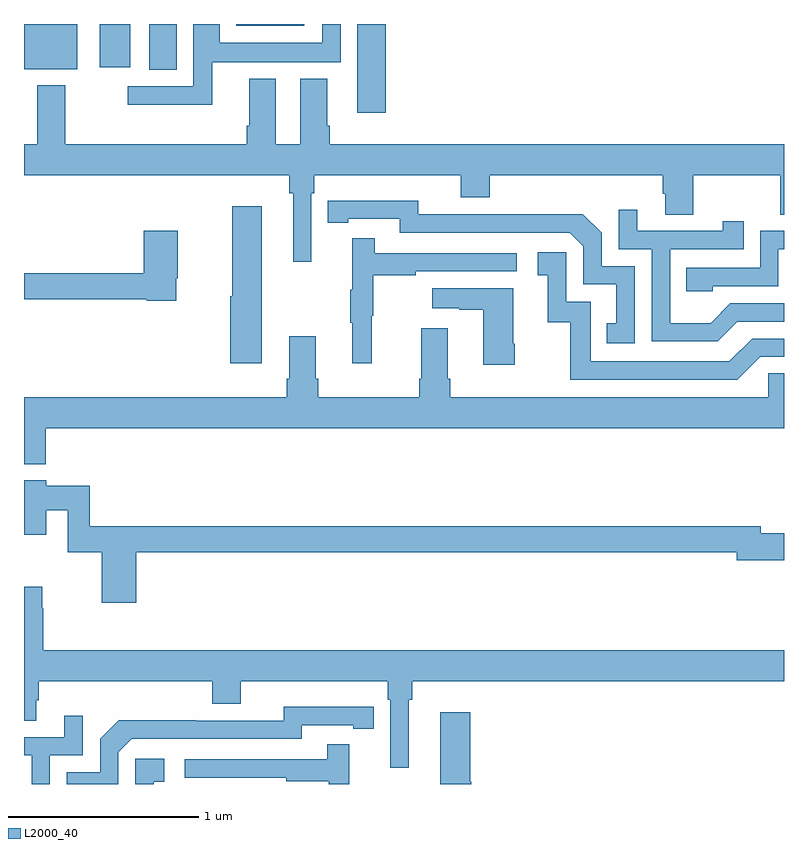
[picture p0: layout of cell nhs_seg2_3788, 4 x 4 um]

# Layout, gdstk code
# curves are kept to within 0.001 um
import gdstk
lib = gdstk.Library(unit=1e-6, precision=1e-09)
def R(c, l, rs):  # rectangles x0, y0, x1, y1
    for r in rs: c.add(gdstk.rectangle(r[:2], r[2:], *l))
def P(c, l, *ps):  # polygons
    for p in ps: c.add(gdstk.Polygon(p, *l))
L2000_40 = (2000, 40)

nhs_seg2_3788 = lib.new_cell('nhs_seg2_3788')
R(nhs_seg2_3788, L2000_40, [(312.755,613.332,312.905,613.8), (311.66,613.558,311.803,613.8), (311,613.562,311.281,613.8), (311.399,613.572,311.56,613.8), (312.116,613.79,312.475,613.8)])
P(nhs_seg2_3788, L2000_40, [(311.99,613.598),(312.666,613.598),(312.666,613.8),(312.57,613.8),(312.57,613.702),(312.031,613.702),(312.031,613.8),(311.891,613.8),(311.891,613.473),(311.547,613.473),(311.547,613.376),(311.99,613.376)],
  [(312.513,612.908),(312.527,612.908),(312.527,613.004),(313.298,613.004),(313.298,612.887),(313.451,612.887),(313.451,613.004),(314.363,613.004),(314.363,612.906),(314.375,612.906),(314.375,612.796),(314.523,612.796),(314.523,613.004),(314.98,613.004),(314.98,612.796),(315,612.796),(315,613.168),(312.608,613.168),(312.608,613.264),(312.595,613.264),(312.595,613.513),(312.455,613.513),(312.455,613.168),(312.325,613.168),(312.325,613.513),(312.185,613.513),(312.185,613.264),(312.173,613.264),(312.173,613.168),(311.217,613.168),(311.217,613.477),(311.069,613.477),(311.069,613.168),(311,613.168),(311,613.004),(312.397,613.004),(312.397,612.908),(312.416,612.908),(312.416,612.549),(312.513,612.549)],
  [(314.214,612.525),(314.04,612.525),(314.04,612.702),(313.942,612.8),(313.534,612.8),(313.534,612.798),(313.074,612.798),(313.074,612.871),(312.598,612.87),(312.598,612.754),(312.706,612.754),(312.706,612.774),(312.978,612.774),(312.978,612.702),(313.872,612.702),(313.944,612.63),(313.944,612.429),(314.117,612.429),(314.117,612.225),(314.068,612.225),(314.068,612.12),(314.214,612.12)],
  [(312.25,612.841),(312.097,612.841),(312.097,612.366),(312.086,612.366),(312.086,612.014),(312.25,612.014)],
  [(314.755,612.234),(315,612.234),(315,612.33),(314.718,612.33),(314.614,612.226),(314.4,612.226),(314.4,612.615),(314.789,612.615),(314.789,612.763),(314.678,612.763),(314.678,612.711),(314.227,612.711),(314.227,612.823),(314.13,612.823),(314.13,612.615),(314.304,612.615),(314.304,612.129),(314.65,612.129)],
  [(311.8,612.463),(311.808,612.463),(311.808,612.712),(311.63,612.712),(311.63,612.488),(311,612.488),(311,612.352),(311.646,612.352),(311.646,612.344),(311.8,612.344)],
  [(314.625,612.42),(314.97,612.42),(314.97,612.615),(315,612.615),(315,612.711),(314.874,612.711),(314.874,612.516),(314.485,612.516),(314.485,612.393),(314.625,612.393)],
  [(312.83,612.264),(312.838,612.264),(312.838,612.478),(313.061,612.478),(313.061,612.498),(313.594,612.498),(313.594,612.594),(312.845,612.594),(312.845,612.673),(312.728,612.673),(312.728,612.401),(312.717,612.401),(312.717,612.227),(312.728,612.227),(312.728,612.015),(312.83,612.015)],
  [(314.874,612.048),(315,612.048),(315,612.144),(314.832,612.144),(314.712,612.024),(313.983,612.024),(313.983,612.339),(313.854,612.339),(313.854,612.598),(313.704,612.598),(313.704,612.477),(313.757,612.477),(313.757,612.231),(313.875,612.231),(313.875,611.928),(314.754,611.928)],
  [(313.584,612.118),(313.576,612.118),(313.576,612.409),(313.149,612.409),(313.149,612.305),(313.292,612.305),(313.292,612.295),(313.418,612.295),(313.418,612.006),(313.584,612.006)],
  [(311.114,611.672),(315,611.672),(315,611.963),(314.916,611.963),(314.916,611.836),(313.244,611.836),(313.244,611.932),(313.231,611.932),(313.231,612.199),(313.091,612.199),(313.091,611.932),(313.079,611.932),(313.079,611.836),(312.548,611.836),(312.548,611.932),(312.535,611.932),(312.535,612.157),(312.395,612.157),(312.395,611.932),(312.383,611.932),(312.383,611.836),(311,611.836),(311,611.483),(311.114,611.483)],
  [(311.591,611.02),(314.75,611.02),(314.75,610.978),(315,610.978),(315,611.12),(314.878,611.12),(314.878,611.156),(311.345,611.156),(311.345,611.371),(311.116,611.371),(311.116,611.398),(311,611.398),(311,611.112),(311.116,611.112),(311.116,611.242),(311.229,611.242),(311.229,611.02),(311.408,611.02),(311.408,610.755),(311.591,610.755)],
  [(313.024,610.244),(313.043,610.244),(313.043,610.34),(315,610.34),(315,610.504),(311.102,610.504),(311.102,610.724),(311.095,610.724),(311.095,610.837),(311,610.837),(311,610.132),(311.065,610.132),(311.065,610.242),(311.078,610.242),(311.078,610.34),(311.99,610.34),(311.99,610.223),(312.142,610.223),(312.142,610.34),(312.914,610.34),(312.914,610.244),(312.927,610.244),(312.927,609.885),(313.024,609.885)],
  [(311.496,609.966),(311.568,610.038),(312.462,610.038),(312.462,610.11),(312.734,610.11),(312.734,610.09),(312.842,610.09),(312.842,610.206),(312.366,610.207),(312.366,610.134),(311.906,610.134),(311.906,610.136),(311.498,610.136),(311.4,610.038),(311.4,609.861),(311.226,609.861),(311.226,609.8),(311.496,609.8)],
  [(313.354,609.813),(313.349,609.813),(313.349,610.177),(313.19,610.177),(313.19,609.8),(313.354,609.8)],
  [(311.136,609.951),(311.31,609.951),(311.31,610.159),(311.213,610.159),(311.213,610.047),(311,610.047),(311,609.951),(311.04,609.951),(311.04,609.8),(311.136,609.8)],
  [(312.713,610.009),(312.595,610.009),(312.595,609.93),(311.847,609.93),(311.847,609.834),(312.379,609.834),(312.379,609.814),(312.603,609.814),(312.603,609.8),(312.713,609.8)],
  [(311.682,609.813),(311.737,609.813),(311.737,609.934),(311.586,609.934),(311.586,609.8),(311.682,609.8)])

lib.write_gds('nhs_seg2_3788.gds')
